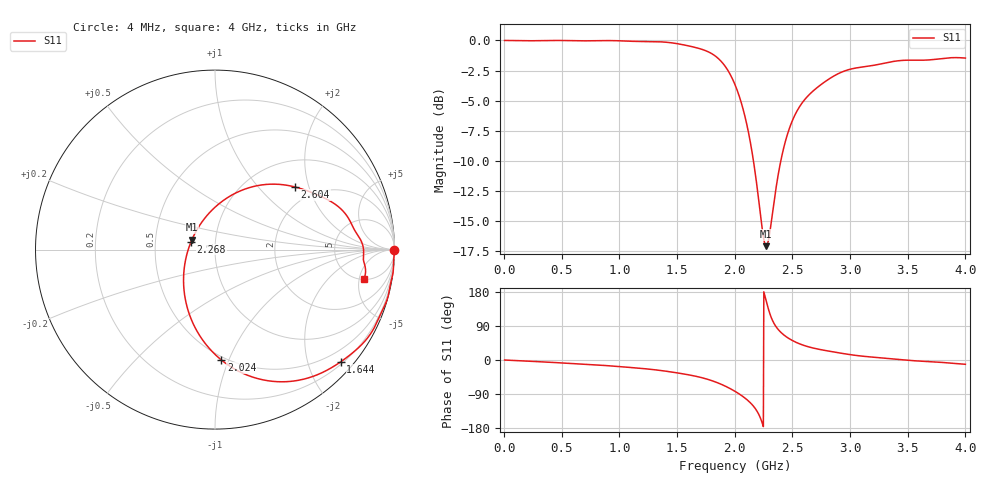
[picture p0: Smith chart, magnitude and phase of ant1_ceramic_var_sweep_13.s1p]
! TOUCHSTONE file generated by CST MICROWAVE STUDIO
! Date and time: Fri May  6 09:22:52 2022
! Project name: ant1_ceramic_sweep_10porcent.cst
! Parameters = {e=0.035; h=1.6; i=0.8; l1=0.5; l2=18.7; ls=80; wl=1.7; ws=30}
! Header version: 2018
! Port assignment regex: !\s*Touchstone port\s*([0-9]+)\s*=\s*(CST MWS port|CST DS port)\s*([0-9]+|Zmin|Zmax)\s*\(\"(.*)\"\)(\s*mode\s*([0-9]+))?.*
! Touchstone port assignment:
! Touchstone port 1 = CST MWS port 1 ("")
# GHz S DB R 50
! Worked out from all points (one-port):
!   1000 points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, 4 MHz to 4 GHz, reference 50 ohm
!   lowest |S11| = -17.1 dB at 2.272 GHz (marker M1), VSWR 1.33, Z = 38.4 + j4.29 ohm
!   |S11| at or under -10 dB: 2.162 GHz to 2.399 GHz (237.3 MHz wide, 10.4 % of centre)
!   S11 on the Smith chart (normalised r, x): 4 MHz: open; 1.644 GHz: 0.25, -2.60; 2.024 GHz: 0.47, -0.94; 2.268 GHz: 0.76, +0.07; 2.604 GHz: 1.59, +1.63; 4 GHz: 5.04, -5.83
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0.004  -0.00 -0.1
0.504  -0.00 -7.8
1.004  -0.03 -17.5
1.316  -0.10 -26.1
1.504  -0.27 -34.2
1.644  -0.55 -41.8
1.764  -0.92 -50.9
1.868  -1.60 -62.2
1.94  -2.48 -72.3
2.004  -3.72 -83.0
2.024  -4.22 -86.8
2.092  -6.46 -101.3
2.152  -9.40 -118.3
2.196  -12.36 -136.7
2.24  -15.79 -167.9
2.268  -17.05 161.7
2.272  -17.08 156.9
2.3  -16.17 126.1
2.384  -10.75 77.9
2.44  -8.35 62.8
2.504  -6.56 50.7
2.604  -4.94 38.0
2.688  -4.12 31.0
2.8  -3.31 24.3
3.004  -2.38 14.0
3.364  -1.76 3.3
3.504  -1.64 -0.7
4  -1.46 -11.3
